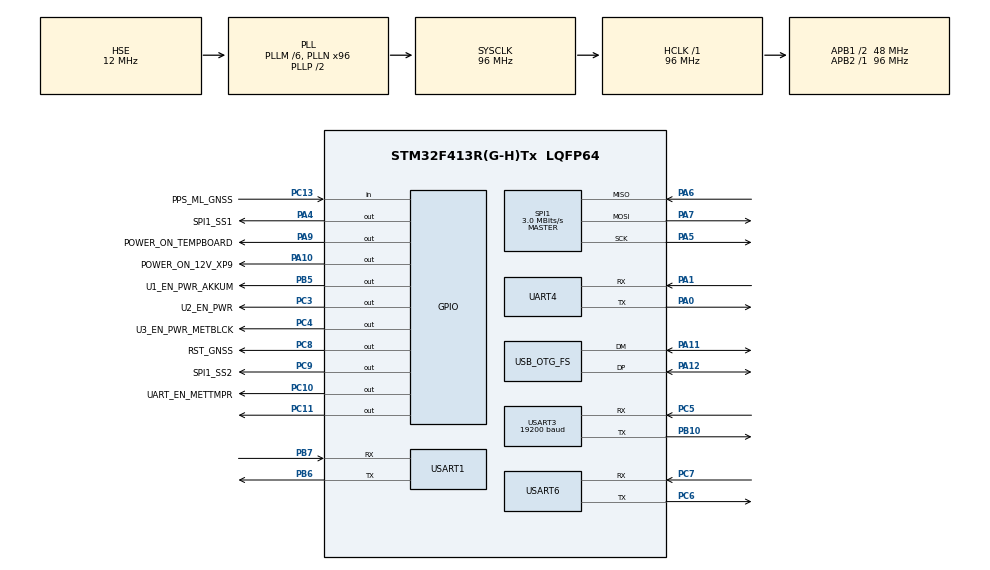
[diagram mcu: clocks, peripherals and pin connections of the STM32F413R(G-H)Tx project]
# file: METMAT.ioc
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Mcu.Family=STM32F4
Mcu.Name=STM32F413R(G-H)Tx
Mcu.Package=LQFP64
NVIC.OTG_FS_IRQn=true\:0\:0\:false\:false\:true\:false\:true\:true
NVIC.PriorityGroup=NVIC_PRIORITYGROUP_4
NVIC.UART4_IRQn=true\:0\:0\:false\:false\:true\:true\:true\:true
NVIC.USART1_IRQn=true\:0\:0\:false\:false\:true\:true\:true\:true
NVIC.USART3_IRQn=true\:0\:0\:false\:false\:true\:true\:true\:true
NVIC.USART6_IRQn=true\:0\:0\:false\:false\:true\:true\:true\:true
PA0.Mode=Asynchronous
PA0.Signal=UART4_TX
PA1.Mode=Asynchronous
PA1.Signal=UART4_RX
PA10.GPIO_Label=POWER_ON_12V_XP9
PA10.Signal=GPIO_Output
PA11.Mode=Device_Only
PA11.Signal=USB_OTG_FS_DM
PA12.Mode=Device_Only
PA12.Signal=USB_OTG_FS_DP
PA4.GPIO_Label=SPI1_SS1
PA4.GPIO_Speed=GPIO_SPEED_FREQ_VERY_HIGH
PA4.PinState=GPIO_PIN_SET
PA4.Signal=GPIO_Output
PA5.Mode=Full_Duplex_Master
PA5.Signal=SPI1_SCK
PA6.Mode=Full_Duplex_Master
PA6.Signal=SPI1_MISO
PA7.Mode=Full_Duplex_Master
PA7.Signal=SPI1_MOSI
PA9.GPIO_Label=POWER_ON_TEMPBOARD
PA9.PinState=GPIO_PIN_SET
PA9.Signal=GPIO_Output
PB10.Mode=Asynchronous
PB10.Signal=USART3_TX
PB5.GPIO_Label=U1_EN_PWR_AKKUM
PB5.Signal=GPIO_Output
PB6.Mode=Asynchronous
PB6.Signal=USART1_TX
PB7.Mode=Asynchronous
PB7.Signal=USART1_RX
PC10.GPIO_Label=UART_EN_METTMPR
PC10.GPIO_Speed=GPIO_SPEED_FREQ_VERY_HIGH
PC10.PinState=GPIO_PIN_RESET
PC10.Signal=GPIO_Output
PC11.GPIO_Speed=GPIO_SPEED_FREQ_VERY_HIGH
PC11.Signal=GPIO_Output
PC13.GPIO_Label=PPS_ML_GNSS
PC13.Signal=GPIO_Input
PC3.GPIO_Label=U2_EN_PWR
PC3.Signal=GPIO_Output
PC4.GPIO_Label=U3_EN_PWR_METBLCK
PC4.Signal=GPIO_Output
PC5.Mode=Asynchronous
PC5.Signal=USART3_RX
PC6.Mode=Asynchronous
PC6.Signal=USART6_TX
PC7.Mode=Asynchronous
PC7.Signal=USART6_RX
PC8.GPIO_Label=RST_GNSS
PC8.PinState=GPIO_PIN_RESET
PC8.Signal=GPIO_Output
PC9.GPIO_Label=SPI1_SS2
PC9.PinState=GPIO_PIN_SET
PC9.Signal=GPIO_Output
PH0\ -\ OSC_IN.Mode=HSE-External-Oscillator
PH0\ -\ OSC_IN.Signal=RCC_OSC_IN
PH1\ -\ OSC_OUT.Mode=HSE-External-Oscillator
PH1\ -\ OSC_OUT.Signal=RCC_OSC_OUT
ProjectManager.HeapSize=0x200
ProjectManager.StackSize=0x400
ProjectManager.TargetToolchain=MDK-ARM V5.32
RCC.AHBFreq_Value=96000000
RCC.APB1CLKDivider=RCC_HCLK_DIV2
RCC.APB1Freq_Value=48000000
RCC.APB1TimFreq_Value=96000000
RCC.APB2Freq_Value=96000000
RCC.APB2TimFreq_Value=96000000
RCC.CortexFreq_Value=96000000
RCC.EnbaleCSS=true
RCC.HCLKFreq_Value=96000000
RCC.HSE_VALUE=12000000
RCC.PLLM=6
RCC.PLLN=96
RCC.PLLQ=4
RCC.PLLSourceVirtual=RCC_PLLSOURCE_HSE
RCC.SYSCLKFreq_VALUE=96000000
RCC.SYSCLKSource=RCC_SYSCLKSOURCE_PLLCLK
RCC.USBFreq_Value=48000000
RCC.VCOOutputFreq_Value=192000000
SPI1.BaudRatePrescaler=SPI_BAUDRATEPRESCALER_32
SPI1.CalculateBaudRate=3.0 MBits/s
SPI1.Direction=SPI_DIRECTION_2LINES
SPI1.Mode=SPI_MODE_MASTER
SPI1.VirtualType=VM_MASTER
UART4.VirtualMode=Asynchronous
USART1.VirtualMode=VM_ASYNC
USART3.BaudRate=19200
USART3.VirtualMode=VM_ASYNC
USART6.VirtualMode=VM_ASYNC
USB_DEVICE.CLASS_NAME_FS=CDC
USB_DEVICE.VirtualMode=Cdc
USB_DEVICE.VirtualModeFS=Cdc_FS
USB_OTG_FS.VirtualMode=Device_Only
VP_USB_DEVICE_VS_USB_DEVICE_CDC_FS.Mode=CDC_FS
board=custom

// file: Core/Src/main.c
/* USER CODE BEGIN Header */
/**
 ******************************************************************************
 * @file           : main.c
 * @brief          : Main program body
 ******************************************************************************
 * @attention
 *
 * <h2><center>&copy; Copyright (c) 2023 STMicroelectronics.
 * All rights reserved.</center></h2>
 *
 * This software component is licensed by ST under Ultimate Liberty license
 * SLA0044, the "License"; You may not use this file except in compliance with
 * the License. You may obtain a copy of the License at:
 *                             www.st.com/SLA0044
 *
 ******************************************************************************
 */
/* USER CODE END Header */
#include "main.h"
#include "spi.h"
#include "usart.h"
#include "usb_device.h"
#include "gpio.h"

/* USER CODE BEGIN Includes */
#include "usbd_cdc_if.h"
//#include "SST26.h"
 #include "sst26_v2\SST26_v2.h"
/* USER CODE END Includes */

/* USER CODE BEGIN PV */
uint8_t str[1];
uint8_t dataReceived = 0;    // ������� ������ ��������
uint8_t dataTransmitted = 1; // ������� ������ ��������
uint8_t *Buf;

uint8_t flagBoard = 0;            // ??????? ?????? ????????
uint8_t receiveRingBuf[32] = {0}; // ??????? ?????? ????????

uint8_t requestTemperature = 0x5e;
uint8_t exitTemperature8[12] = {0};

// uart

uint8_t RxData[12] = {0};
uint8_t RxData6[60] = {0};
int indx = 0;
uint8_t fullPacket[12] = {0xFD, 0x55, 0};

//----------Log
log1_t log1 = {0};
uint32_t currentID_log = 1;
//-----------extern flash

uint16_t numbSectorCurrent = 0;
uint32_t flashID = 0;

//---------Debug

uint32_t defaultTime = 0x937;
uint32_t defaultDate = 0x0134D879;
uint16_t countLogID = 0;

#define sizeTx 256
//uint8_t testMassiveExtFlash[256] = {0};
uint8_t testMassiveExtFlash[sizeTx] = {0};
uint8_t testValue8 = 0xAB;
uint32_t testValue = 0xAAAAAAAA;
uint32_t freeAdressExtFlash = 0;
uint8_t rxDataFlash[4096] = {0};
uint8_t statusFlashExt = 0;

#define ziseRBPR 14
uint8_t rxDataFlash_RBPR[ziseRBPR] = {0};

  uint32_t sectorsNeeded = 0;
  uint32_t currentSector = 0;
  uint32_t remainingBytes = 0;
/* USER CODE END PV */

void SystemClock_Config(void);

/* USER CODE BEGIN 0 */

int	my_memcmp(void *dest, void *src, int size)
{
    unsigned char *p = dest;
    unsigned char *q = src;

    while (size > 0)
    {
        if (*p != *q)
        {
            return (*p - *q);
        }
        size--;
        p++;
        q++;
    }
    return 0;
}

// void writeLog(uint32_t *temperature_ptr)
// {
//   log1.ID = currentID_log++;
//   log1.Date = defaultDate;
//   log1.Time = defaultTime;
//   for (size_t i = 0; i < 5; i++)
//   {
//     log1.Temperature[i] = *(temperature_ptr + i);
//   }
//   log1.EndOfLog = 0xFFFFFFFF;

//   // void sFLASH_WriteBuffer(uint8_t* pBuffer, uint32_t WriteAddr, uint32_t NumByteToWrite, uint8_t numbFlashMemory);

//   static uint32_t numbID = 0;
//   sFLASH_WriteBuffer((uint8_t *)&log1, sFLASH_SPI_PAGE_SIZE * numbID, sizeof(log1_t), 1);
//   numbID++;
// }

/* USER CODE END 0 */

int main(void)
{

  /* MCU Configuration--------------------------------------------------------*/

  /* Reset of all peripherals, Initializes the Flash interface and the Systick. */
  HAL_Init();

  /* Configure the system clock */
  SystemClock_Config();

  /* Initialize all configured peripherals */
  MX_GPIO_Init();
  MX_USB_DEVICE_Init();
  MX_SPI1_Init();
  MX_UART4_Init();
  MX_USART6_UART_Init();
  MX_USART1_UART_Init();
  MX_USART3_UART_Init();
  /* USER CODE BEGIN 2 */

  //-------deb ext flash
  memset(testMassiveExtFlash, testValue8, sizeTx-6);

//  flashID = sFLASH_ReadID(2);

  //  sFLASH_InitSST26(1);

//  statusFlashExt = sFLASH_ReadSimpleCommand(FLASH_CMD_RDSR, 2);

  //  sFLASH_EraseSector(numbSectorCurrent * sFLASH_SPI_SECTOR_SIZE, 1);
  //  HAL_Delay(25);
  //  numbSectorCurrent++;

//  for (size_t i = 0; i < 2; i++)
//  {
//		sFLASH_EraseSector(i * sFLASH_SPI_SECTOR_SIZE, 2);
//    sFLASH_WritePage(testMassiveExtFlash, i * sFLASH_SPI_PAGE_SIZE, sizeof(testMassiveExtFlash),2);
////    sFLASH_WriteBuffer(testMassiveExtFlash, i * sFLASH_SPI_SECTOR_SIZE, sizeof(testMassiveExtFlash),2);
//    HAL_Delay(2);
//  }

//  statusFlashExt = sFLASH_ReadSimpleCommand(FLASH_CMD_RDSR, 2);

//  for (size_t i = 0; i < 2; i++)
//  {
//    sFLASH_ReadBuffer(rxDataFlash, i * sFLASH_SPI_PAGE_SIZE, 256, 2);
//    HAL_Delay(2);
//  }
//  statusFlashExt = sFLASH_ReadSimpleCommand(FLASH_CMD_RDSR, 2);
//
//  sFLASH_ReadCommand(FLASH_CMD_RBPR,rxDataFlash_RBPR,ziseRBPR, 2);

  // freeAdressExtFlash = sFLASH_SearchLastFreePageAdress(1);
  // sFLASH_WritePage((uint8_t *)&testValue, freeAdressExtFlash, 4, 1);
  // freeAdressExtFlash = sFLASH_SearchLastFreePageAdress(1);
  // sFLASH_WritePage((uint8_t *)&testValue, freeAdressExtFlash, 4, 1);
  // freeAdressExtFlash = sFLASH_SearchLastFreePageAdress(1);

  //  HAL_GPIO_WritePin(GPIOC, GPIO_PIN_4, GPIO_PIN_RESET);

  // __HAL_UART_ENABLE_IT(&huart4, UART_IT_IDLE);

  // HAL_UART_Receive_IT(&huart4, &receiveRingBuf[0], 12);

//  HAL_UARTEx_ReceiveToIdle_IT(&huart4, RxData, sizeof(RxData));
  //  HAL_UARTEx_ReceiveToIdle_IT(&huart6, RxData6, sizeof(RxData6));

  // /* 1 - Verify that the identifier is correctly read */
  //  if(sFLASH_MX25L6433F_ID != sFLASH_ReadID())
  //  {
  //    Error_Handler();
  //  }

//  /* 2 - determines how many sectors are needed to write the test image */
//  sectorsNeeded =0;
//  remainingBytes = (sizeof(testMassiveExtFlash) % sFLASH_SPI_SECTOR_SIZE);

//  /* 3 - erases and writes the needed sectors */
//  for (currentSector = 0; currentSector < sectorsNeeded; currentSector++)
//  {
//    /* 3.1 - erases current sector */
//  	sFLASH_EraseSector(currentSector * sFLASH_SPI_SECTOR_SIZE);
//  	/* 3.2 - writes current sector */
//  	sFLASH_WriteBuffer(&testMassiveExtFlash[currentSector * sFLASH_SPI_SECTOR_SIZE], currentSector * sFLASH_SPI_SECTOR_SIZE, sFLASH_SPI_SECTOR_SIZE);
//  }
//  if(remainingBytes != 0)
//  {
//  	/* 3.3 - erases last sector for the remaining bytes */
//  	sFLASH_EraseSector(currentSector * sFLASH_SPI_SECTOR_SIZE);
//  	/* 3.4 - writes for the remaining bytes */
//  	sFLASH_WriteBuffer(&testMassiveExtFlash[currentSector * sFLASH_SPI_SECTOR_SIZE], currentSector * sFLASH_SPI_SECTOR_SIZE, remainingBytes);
//  }

//    /* 4 - reads and checks the selected sectors */
//  for (currentSector = 0; currentSector < sectorsNeeded; currentSector++)
//  {
//  	/* 4.1 - reads current sector */
//  	sFLASH_ReadBuffer(rxDataFlash, currentSector * sFLASH_SPI_SECTOR_SIZE, sFLASH_SPI_SECTOR_SIZE);
//  	/* 4.2 - checks current sector */
//  	if(my_memcmp((void *)rxDataFlash, (void *)&testMassiveExtFlash[currentSector * sFLASH_SPI_SECTOR_SIZE], sFLASH_SPI_SECTOR_SIZE) != 0)
//  	//if(memcmp(buffer_read, buffer_test, sFLASH_SPI_SECTOR_SIZE) != 0)
//  	{
//  		Error_Handler();
//  	}
//  }
//  if(remainingBytes != 0)
//  {
//    /* 4.3 - reads current sector */
//  	sFLASH_ReadBuffer(rxDataFlash, currentSector * sFLASH_SPI_SECTOR_SIZE, remainingBytes);
//  	/* 4.4 - checks current sector */
//  	if(my_memcmp((void *)rxDataFlash, (void *)&testMassiveExtFlash[currentSector * sFLASH_SPI_SECTOR_SIZE], remainingBytes) != 0)
//  	{
//      Error_Handler();
//  	}
//  }

	  // memset(testMassiveExtFlash, testValue8, 128);

//////---------------v2

 flash_GBPU();
 HAL_Delay(5);
 flash_sector_erase(0); //let's store data in the memory location 107 of flash
 HAL_Delay(5);

 uint8_t tx_buffer[6] = {1,2,3,4,5,6}; //sample data to send to flash
 uint8_t rx_buffer[256];
 flash_write(107,testMassiveExtFlash,sizeTx); //read from tx_buffer...
 flash_read(0,rx_buffer,256); //...and store it in rx_buffer
 HAL_Delay(1);
 HAL_Delay(1);
 HAL_Delay(1);

  /* USER CODE END 2 */

  /* Infinite loop */
  /* USER CODE BEGIN WHILE */
  while (1)
  {

    HAL_Delay(1);
    // if (flagBoard & INTERRUPT_USB_MASK)
    if (flagBoard == 1)
    {
      //          flagBoard &= 0xFE;
      flagBoard = 0;
      HAL_GPIO_TogglePin(GPIOC, GPIO_PIN_11);
      PIN_EN_TRANSMIT_UART4(1);
      // HAL_UART_Transmit(&huart4, &requestTemperature, 1, 100);
      HAL_UART_Transmit_IT(&huart4, &requestTemperature, 1);
      HAL_Delay(10);
      PIN_EN_TRANSMIT_UART4(0);
      // CDC_Transmit_FS(str, 1);
    }

    /* USER CODE END WHILE */

  }
}

void SystemClock_Config(void)
{
  RCC_OscInitTypeDef RCC_OscInitStruct = {0};
  RCC_ClkInitTypeDef RCC_ClkInitStruct = {0};

  /** Configure the main internal regulator output voltage
   */
  __HAL_RCC_PWR_CLK_ENABLE();
  __HAL_PWR_VOLTAGESCALING_CONFIG(PWR_REGULATOR_VOLTAGE_SCALE1);
  /** Initializes the RCC Oscillators according to the specified parameters
   * in the RCC_OscInitTypeDef structure.
   */
  RCC_OscInitStruct.OscillatorType = RCC_OSCILLATORTYPE_HSE;
  RCC_OscInitStruct.HSEState = RCC_HSE_ON;
  RCC_OscInitStruct.PLL.PLLState = RCC_PLL_ON;
  RCC_OscInitStruct.PLL.PLLSource = RCC_PLLSOURCE_HSE;
  RCC_OscInitStruct.PLL.PLLM = 6;
  RCC_OscInitStruct.PLL.PLLN = 96;
  RCC_OscInitStruct.PLL.PLLP = RCC_PLLP_DIV2;
  RCC_OscInitStruct.PLL.PLLQ = 4;
  RCC_OscInitStruct.PLL.PLLR = 2;
  if (HAL_RCC_OscConfig(&RCC_OscInitStruct) != HAL_OK)
  {
    Error_Handler();
  }
  /** Initializes the CPU, AHB and APB buses clocks
   */
  RCC_ClkInitStruct.ClockType = RCC_CLOCKTYPE_HCLK | RCC_CLOCKTYPE_SYSCLK | RCC_CLOCKTYPE_PCLK1 | RCC_CLOCKTYPE_PCLK2;
  RCC_ClkInitStruct.SYSCLKSource = RCC_SYSCLKSOURCE_PLLCLK;
  RCC_ClkInitStruct.AHBCLKDivider = RCC_SYSCLK_DIV1;
  RCC_ClkInitStruct.APB1CLKDivider = RCC_HCLK_DIV2;
  RCC_ClkInitStruct.APB2CLKDivider = RCC_HCLK_DIV1;

  if (HAL_RCC_ClockConfig(&RCC_ClkInitStruct, FLASH_LATENCY_3) != HAL_OK)
  {
    Error_Handler();
  }
  /** Enables the Clock Security System
   */
  HAL_RCC_EnableCSS();
}

/* USER CODE BEGIN 4 */

/*
void HAL_UART_RxCpltCallback(UART_HandleTypeDef *huart) {

//HAL_GPIO_WritePin(GPIOC, GPIO_PIN_8, GPIO_PIN_RESET);
//HAL_Delay(200);
//HAL_GPIO_WritePin(GPIOC, GPIO_PIN_8, GPIO_PIN_SET);

//HAL_GPIO_WritePin(GPIOC, GPIO_PIN_8, GPIO_PIN_SET);
//	HAL_GPIO_WritePin(GPIOC,GPIO_PIN_4,GPIO_PIN_RESET );
//  if(huart == &huart6) {

//      CDC_Transmit_FS(str,1);

//    }
//    HAL_UART_Receive_IT (&huart6, str, 1);
    HAL_GPIO_TogglePin(GPIOC,GPIO_PIN_3 );
  }*/

// void HAL_UART_RxCpltCallback(UART_HandleTypeDef *huart)
// {
//   // receiveDataBuf = {0}
//   const float DS18B20_T_STEP_float = 0.0625;
//   const uint16_t startWord = {0xFD55};
//   const uint8_t startWord8[2] = {0xFD, 0x55};
//   uint16_t exitTemperature[6] = {0};

//   if (huart->Instance == UART4) // c
//   {
//     /*
//     uint8_t outData_temp[24] = {0};
//     float temperature_fl[5] = {0};

//     for (size_t i = 0; i < 5; i++)
//     {
//       int16_t temp16b = (int16_t)(receiveRingBuf[i * 2 + 2] << 8 | receiveRingBuf[i * 2 + 1 + 2]); //(a << 8) | b
//       temperature_fl[i] = (float)(int32_t)temp16b * DS18B20_T_STEP_float;
//     }

//     //    if (memcmp(receiveRingBuf, &requestTemperature, 1))
//     //    {
//     //      // for (size_t i = 0; i < 5; i++)
//     //      // {
//     //      //   memcpy(&fullPacket[i * 2 + 1], &temperatureSensor[i].sourceTemperature, 2);
//     //      // }

//     //      // HAL_GPIO_WritePin(GPIOB, GPIO_PIN_5, GPIO_PIN_SET);
//     //      // HAL_UART_Transmit_IT(&huart1, &fullPacket[0], sizeof(fullPacket));
//     //      // HAL_GPIO_WritePin(GPIOB, GPIO_PIN_5, GPIO_PIN_RESET);
//     //      HAL_GPIO_TogglePin(GPIOC, GPIO_PIN_3);
//     //      memcpy(&receiveRingBuf[0], huart->pRxBuffPtr, 11);
//     //      CDC_Transmit_FS(&receiveRingBuf[0], 11);
//     //    }

//     HAL_GPIO_TogglePin(GPIOC, GPIO_PIN_11);
//     memcpy(&outData_temp[0], &receiveRingBuf[0], 2);
//     memcpy(&outData_temp[1], &temperature_fl[0], sizeof(float) * 5);
//     CDC_Transmit_FS(&outData_temp[0], sizeof(outData_temp));
//     */

//     HAL_GPIO_TogglePin(GPIOC, GPIO_PIN_11);
//     memcpy(&exitTemperature8[0], &startWord8[0], 2);
//     memcpy(&exitTemperature8[2], &receiveRingBuf[2], 10);
//     CDC_Transmit_FS(&exitTemperature8[0], sizeof(exitTemperature8));
//   }

//   // HAL_UART_Receive_IT(&huart4, &receiveRingBuf[0], 12);
// }

// void HAL_UART_RxIdleCallback(UART_HandleTypeDef *huart)
// {
//   // __HAL_UART_DISABLE_IT(huart, UART_IT_IDLE);

//   const float DS18B20_T_STEP_float = 0.0625;
//   // const uint16_t startWord = {0xFD55};
//   const uint8_t startWord8[2] = {0xFD, 0x55};
//   uint16_t exitTemperature[6] = {0};
//   HAL_GPIO_TogglePin(GPIOC, GPIO_PIN_11);
//   memcpy(&exitTemperature8[0], &startWord8[0], 2);
//   memcpy(&exitTemperature8[2], &receiveRingBuf[2], 10);
//   CDC_Transmit_FS(&exitTemperature8[0], sizeof(exitTemperature8));

//   __HAL_UART_CLEAR_IDLEFLAG(&huart4);
//   __HAL_UART_ENABLE_IT(&huart4, UART_IT_IDLE);
// }

void HAL_UARTEx_RxEventCallback(UART_HandleTypeDef *huart, uint16_t Size)
{
  const uint8_t startWord8[2] = {0xFD, 0x55};
  indx = Size;

  if (huart->Instance == UART4) // check if the interrupt comes from
  {
    if (memcmp(RxData, &requestTemperature, 1) != 0)
    {
      // for (size_t i = 0; i < 5; i++)
      // {
      //   memcpy(&fullPacket[i * 2 + 1], &temperatureSensor[i].sourceTemperature, 2);
      // }

      memcpy(&exitTemperature8[0], &startWord8[0], 2);
      memcpy(&exitTemperature8[2], &RxData[2], 10);
      CDC_Transmit_FS(&exitTemperature8[0], sizeof(exitTemperature8));

      // writeLog(uint32_t * temperature_ptr);
    }

    HAL_UARTEx_ReceiveToIdle_IT(&huart4, RxData, sizeof(RxData));
  }

  // if (memcmp(RxData, &requestTemperature, 1))
  // {
  //   HAL_UARTEx_ReceiveToIdle_IT(&huart4, RxData, sizeof(RxData));
  //   return;
  // }
  // memcpy(&exitTemperature8[0], &startWord8[0], 2);
  // memcpy(&exitTemperature8[2], &RxData[2], 10);
  // CDC_Transmit_FS(&exitTemperature8[0], sizeof(exitTemperature8));
  // HAL_UARTEx_ReceiveToIdle_IT(&huart4, RxData, sizeof(RxData));

  //  if (huart->Instance == USART6) // check if the interrupt comes from
  //  {

  //    CDC_Transmit_FS(&RxData6[0], sizeof(RxData6));
  //    HAL_UARTEx_ReceiveToIdle_IT(&huart6, RxData6, sizeof(RxData6));
  //  }
}

/* USER CODE END 4 */

void Error_Handler(void)
{
  __disable_irq();
  while (1)
  {
  }
}

/************************ (C) COPYRIGHT STMicroelectronics *****END OF FILE****/
